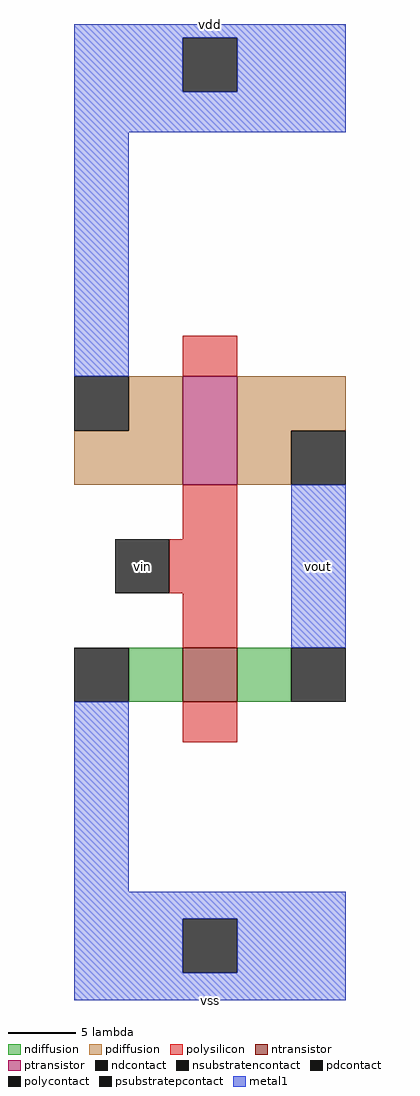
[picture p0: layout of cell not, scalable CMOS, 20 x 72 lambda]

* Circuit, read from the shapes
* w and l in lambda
.subckt not vdd vin vout vss
M1 vout vin vss vss nfet w=4 l=4
M2 vout vin vdd vdd pfet w=8 l=4
.ends

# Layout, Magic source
magic
tech scmos
<< polysilicon >>
rect 8 -18 12 -15
rect 8 -30 12 -26
rect 7 -34 12 -30
rect 8 -38 12 -34
rect 8 -45 12 -42
<< ndiffusion >>
rect 4 -42 8 -38
rect 12 -42 16 -38
<< pdiffusion >>
rect 4 -22 8 -18
rect 0 -26 8 -22
rect 12 -22 20 -18
rect 12 -26 16 -22
<< metal1 >>
rect 0 7 20 8
rect 0 3 8 7
rect 12 3 20 7
rect 0 0 20 3
rect 0 -18 4 0
rect 16 -38 20 -26
rect 0 -56 4 -42
rect 0 -58 20 -56
rect 0 -62 8 -58
rect 12 -62 20 -58
rect 0 -64 20 -62
<< ntransistor >>
rect 8 -42 12 -38
<< ptransistor >>
rect 8 -26 12 -18
<< polycontact >>
rect 3 -34 7 -30
<< ndcontact >>
rect 0 -42 4 -38
rect 16 -42 20 -38
<< pdcontact >>
rect 0 -22 4 -18
rect 16 -26 20 -22
<< psubstratepcontact >>
rect 8 -62 12 -58
<< nsubstratencontact >>
rect 8 3 12 7
<< labels >>
rlabel polycontact 3 -34 7 -30 7 vin
rlabel metal1 0 8 20 8 1 vdd
rlabel metal1 0 -64 20 -64 5 vss
rlabel metal1 18 -32 18 -32 3 vout
<< end >>
